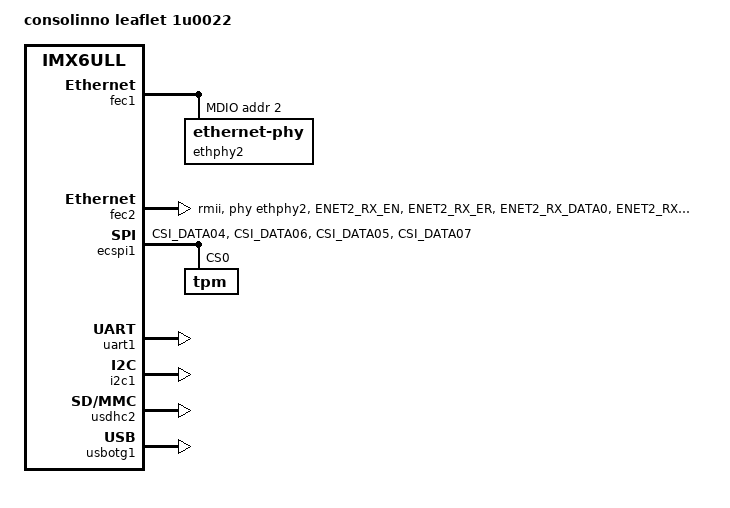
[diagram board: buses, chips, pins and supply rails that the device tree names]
// SPDX-License-Identifier: (GPL-2.0-or-later OR MIT)

/dts-v1/;
#ifdef CONFIG_BOOTM_FITIMAGE_PUBKEY
#include CONFIG_BOOTM_FITIMAGE_PUBKEY
#endif
#include <arm/nxp/imx/imx6ull.dtsi>
#include "imx6ul-phytec-phycore-som.dtsi"
#include "imx6ul-phytec-state.dtsi"

#include <dt-bindings/leds/common.h>

/ {
	model = "consolinno leaflet 1u0022";
	compatible = "consolinno,imx6ull-1u0022", "phytec,imx6ull-pcl063-emmc", "fsl,imx6ull";
};

&iomuxc {
	pinctrl-names = "default";

	pinctrl_boardver: boardvergrp {
		fsl,pins = <
			MX6UL_PAD_CSI_DATA01__GPIO4_IO22		0xa0b0 /* BOARD_VAR_0 */
			MX6UL_PAD_CSI_DATA02__GPIO4_IO23		0xa0b0 /* BOARD_VAR_0 */
			MX6UL_PAD_CSI_DATA03__GPIO4_IO24		0xa0b0 /* BOARD_VAR_0 */
		>;
	};

	pinctrl_enet2: enet2grp {		/* TODO: verify me! */
		fsl,pins = <
			MX6UL_PAD_ENET2_RX_EN__ENET2_RX_EN		0x1b0b0
			MX6UL_PAD_ENET2_RX_ER__ENET2_RX_ER		0x1b0b0
			MX6UL_PAD_ENET2_RX_DATA0__ENET2_RDATA00		0x1b0b0
			MX6UL_PAD_ENET2_RX_DATA1__ENET2_RDATA01		0x1b0b0
			MX6UL_PAD_ENET2_TX_EN__ENET2_TX_EN		0x1b010
			MX6UL_PAD_ENET2_TX_DATA0__ENET2_TDATA00		0x1b010
			MX6UL_PAD_ENET2_TX_DATA1__ENET2_TDATA01		0x1b010
			MX6UL_PAD_ENET2_TX_CLK__ENET2_REF_CLK2		0x4001b010
		>;
	};

	pinctrl_ecspi1: ecspi1grp {		/* TODO */
		fsl,pins = <
			MX6UL_PAD_CSI_DATA04__ECSPI1_SCLK		0x0b0b0 /* [121] SOM_CLK */
			MX6UL_PAD_CSI_DATA06__ECSPI1_MOSI		0x0b0b0 /* [123] SOM_MOSI */
			MX6UL_PAD_CSI_DATA05__ECSPI1_SS0		0x0b0b0 /* [122] SOM_CS */
			MX6UL_PAD_CSI_DATA07__ECSPI1_MISO		0x0b0b0 /* [124] SOM_MISO */
		>;
	};
};

&fec1 {
	status = "okay";

	/* for barebox compatibility */
	mdio: mdio {};
};

&fec2 {
	pinctrl-names = "default";
	pinctrl-0 = <&pinctrl_enet2>;
	phy-mode = "rmii";
	phy-handle = <&ethphy2>;

	/* TODO: does not work yet */

	status = "okay";
};

&mdio {
	ethphy2: ethernet-phy@2 {
		reg = <2>;
		micrel,led-mode = <1>;
		clocks = <&clks IMX6UL_CLK_ENET2_REF>;
		clock-names = "rmii-ref";
		status = "okay";
	};
};

&ecspi1 {
	pinctrl-names = "default";
	pinctrl-0 = <&pinctrl_ecspi1>;
	status = "okay";

	tpm: tpm@0 {
		compatible = "tpm";
		reg = <0>;
	};
};

&uart1 {
	status = "okay";
};

&i2c1 {
	status = "okay";

	/* rtc + nfc */
};

&state {
        status = "okay";
};

&usdhc2 {
	status = "okay";
};

&usbotg1 {
	status = "okay";
};
